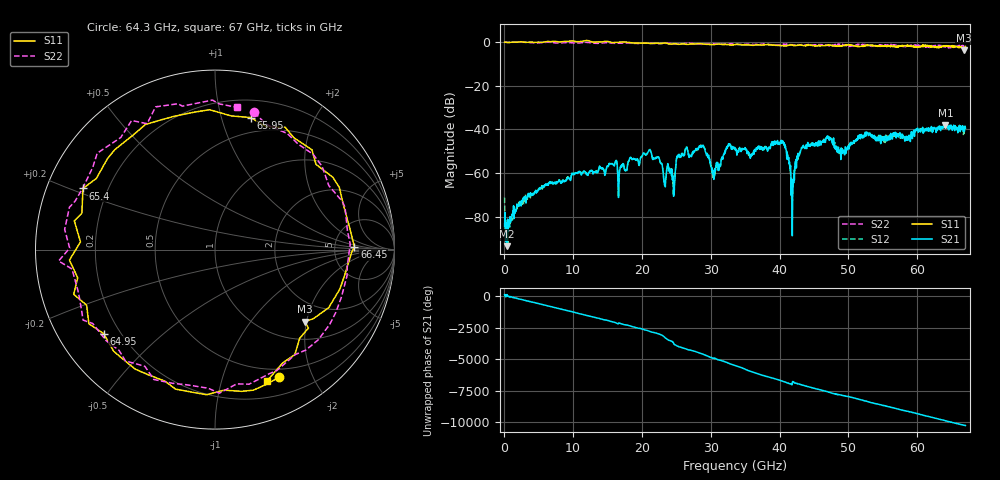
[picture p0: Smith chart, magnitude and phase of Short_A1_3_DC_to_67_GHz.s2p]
#  HZ  S  MA  R  50.00
! Rohde & Schwarz ZVA67 4Ports - Version 4.11 - 1305.7002k04 SN: 101051
! Date: 2023-05-31 11:10:38
! Measurements: S11 S21 S12 S22
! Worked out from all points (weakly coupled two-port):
!   1340 points, 50 MHz to 67 GHz, reference 50 ohm
!   highest |S21| = -37.96 dB at 64.1 GHz (marker M1); lowest = -93.5 dB at 400 MHz (marker M2)
!   lowest |S11| = -3.8 dB at 66.75 GHz (marker M3), VSWR 4.60, Z = 72 - j98.3 ohm
!   |S11| at or under -10 dB: nowhere
!   |S22| runs from -2.8 to 0.1 dB; largest |S21 - S12| = 0.0037
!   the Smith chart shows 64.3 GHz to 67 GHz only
!   S11 on the Smith chart (normalised r, x): 64.3 GHz: 0.40, -1.55; 64.95 GHz: 0.14, -0.33; 65.4 GHz: 0.11, +0.22; 65.95 GHz: 0.35, +1.24; 66.45 GHz: 7.93, +0.58; 67 GHz: 0.36, -1.41
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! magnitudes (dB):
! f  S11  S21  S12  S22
! 50 MHz  -0.1  -84.5  -71.2  0.1
! 400 MHz  -0.3  -93.5  -89.1  -0.2
! 11.25 GHz  0.3  -60.5  -60.5  -0.3
! 22.4 GHz  -0.6  -52.7  -52.8  -0.8
! 24.55 GHz  -0.8  -63.8  -69.1  -0.8
! 26.4 GHz  -1.0  -48.8  -48.8  -0.6
! 28.85 GHz  -0.9  -47.7  -47.8  -1.0
! 30.4 GHz  -1.2  -61.3  -61.1  -0.8
! 33.55 GHz  -1.2  -49.3  -49.2  -1.0
! 40.45 GHz  -1.7  -45.6  -45.5  -1.1
! 41.95 GHz  -1.6  -66.1  -66.2  -1.3
! 42.95 GHz  -1.4  -50.6  -51.2  -1.3
! 44.7 GHz  -1.5  -47.3  -47.1  -1.4
! 55.85 GHz  -1.7  -43.1  -43.6  -1.4
! 64.1 GHz  -1.8  -38.0  -39.4  -2.3
! 64.3 GHz  -2.0  -38.8  -38.9  -2.0
! 64.95 GHz  -2.2  -39.2  -39.7  -2.5
! 65.4 GHz  -1.8  -40.2  -38.7  -2.4
! 65.95 GHz  -2.4  -39.1  -40.4  -1.6
! 66.45 GHz  -2.2  -40.0  -39.9  -1.7
! 66.75 GHz  -3.8  -40.7  -40.6  -1.3
! 67 GHz  -2.1  -39.5  -38.9  -1.9
